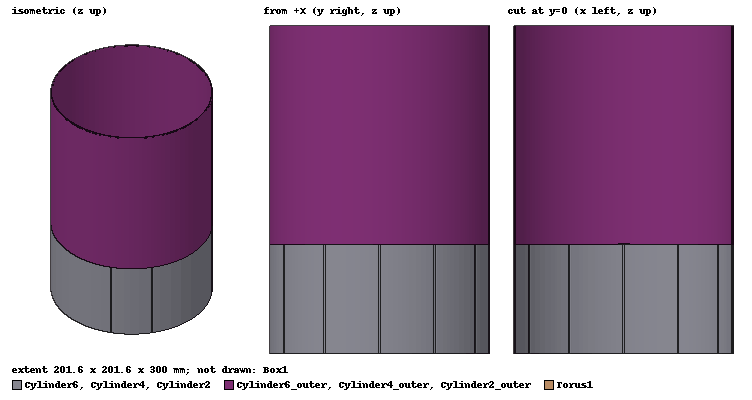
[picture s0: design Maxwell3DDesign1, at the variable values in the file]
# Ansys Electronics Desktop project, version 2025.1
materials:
  vacuum: permittivity=1
  ferrite: permittivity=12 permeability=1000 conductivity=0.01
  copper: permeability=0.999991 conductivity=58000000

design Maxwell3DDesign1 (Maxwell 3D, Magnetostatic, model units mm)
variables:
  Rin = 100mm
  H = 200mm
  Iexc = 1mA
  a = 0.2mm
  g = 0.1mm
  T = 0.8mm
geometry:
  Cylinder1 = cylinder(axis=Z, base_centre=(0mm, 0mm, -H/2), radius=Rin, height=H)
  Cylinder2 [ferrite] = cylinder(axis=Z, base_centre=(0mm, 0mm, -H/2), radius=Rin+a, height=H)
  Cylinder2.subtract(Cylinder1)
  Cylinder3 = cylinder(axis=Z, base_centre=(0mm, 0mm, -H/2), radius=Rin+a+g, height=H)
  Cylinder4 [ferrite] = cylinder(axis=Z, base_centre=(0mm, 0mm, -H/2), radius=Rin+2*a+g, height=H)
  Cylinder4.subtract(Cylinder3)
  Torus1 [copper] = torus(axis=Z, centre=(0mm, 0mm, 0mm), major_radius=5mm, minor_radius=0.5mm)
  Torus1_Section1 [copper] = Torus1.section(plane=YZ)
  Torus1_Section1.separate_bodies()
  Box1 [vacuum] = box(corner=(-400mm, -400mm, -400mm), size=(800mm, 800mm, 800mm))
  Cylinder5 = cylinder(axis=Z, base_centre=(0mm, 0mm, -H/2), radius=Rin+2*a+2*g, height=H)
  Cylinder6 [ferrite] = cylinder(axis=Z, base_centre=(0mm, 0mm, -H/2), radius=Rin+3*a+2*g, height=H)
  Cylinder6.subtract(Cylinder5)
  point BcenterPoint_0_0_0 = (0, 0, 0)
  point BcenterPoint_0_0_0_1 = (0, 0, 0)
  point BcenterPoint_0_0_0_2 = (0, 0, 0)
  point BcenterPoint_0_0_0_3 = (0, 0, 0)
  Cylinder2_outer [ferrite] = cylinder(axis=Z, base_centre=(0mm, 0mm, 0mm), radius=100.2mm, height=200mm)
  Cylinder2_inner = cylinder(axis=Z, base_centre=(0mm, 0mm, 0mm), radius=100mm, height=200mm)
  Cylinder2_outer.subtract(Cylinder2_inner)
  gap_L1_s1 = box(corner=(98mm, -0.8mm, -101mm), size=(4.2mm, 1.6mm, 202mm))
  gap_L1_s1.rotate(axis=Z, angle=0deg)
  gap_L1_s2 = box(corner=(98mm, -0.8mm, -101mm), size=(4.2mm, 1.6mm, 202mm))
  gap_L1_s2.rotate(axis=Z, angle=30deg)
  gap_L1_s3 = box(corner=(98mm, -0.8mm, -101mm), size=(4.2mm, 1.6mm, 202mm))
  gap_L1_s3.rotate(axis=Z, angle=60deg)
  gap_L1_s4 = box(corner=(98mm, -0.8mm, -101mm), size=(4.2mm, 1.6mm, 202mm))
  gap_L1_s4.rotate(axis=Z, angle=90deg)
  gap_L1_s5 = box(corner=(98mm, -0.8mm, -101mm), size=(4.2mm, 1.6mm, 202mm))
  gap_L1_s5.rotate(axis=Z, angle=120deg)
  gap_L1_s6 = box(corner=(98mm, -0.8mm, -101mm), size=(4.2mm, 1.6mm, 202mm))
  gap_L1_s6.rotate(axis=Z, angle=150deg)
  gap_L1_s7 = box(corner=(98mm, -0.8mm, -101mm), size=(4.2mm, 1.6mm, 202mm))
  gap_L1_s7.rotate(axis=Z, angle=180deg)
  gap_L1_s8 = box(corner=(98mm, -0.8mm, -101mm), size=(4.2mm, 1.6mm, 202mm))
  gap_L1_s8.rotate(axis=Z, angle=210deg)
  gap_L1_s9 = box(corner=(98mm, -0.8mm, -101mm), size=(4.2mm, 1.6mm, 202mm))
  gap_L1_s9.rotate(axis=Z, angle=240deg)
  gap_L1_s10 = box(corner=(98mm, -0.8mm, -101mm), size=(4.2mm, 1.6mm, 202mm))
  gap_L1_s10.rotate(axis=Z, angle=270deg)
  gap_L1_s11 = box(corner=(98mm, -0.8mm, -101mm), size=(4.2mm, 1.6mm, 202mm))
  gap_L1_s11.rotate(axis=Z, angle=300deg)
  gap_L1_s12 = box(corner=(98mm, -0.8mm, -101mm), size=(4.2mm, 1.6mm, 202mm))
  gap_L1_s12.rotate(axis=Z, angle=330deg)
  Cylinder2.subtract(gap_L1_s1..gap_L1_s12)
  Cylinder4_outer [ferrite] = cylinder(axis=Z, base_centre=(0mm, 0mm, 0mm), radius=100.5mm, height=200mm)
  Cylinder4_inner = cylinder(axis=Z, base_centre=(0mm, 0mm, 0mm), radius=100.3mm, height=200mm)
  Cylinder4_outer.subtract(Cylinder4_inner)
  gap_L2_s1 = box(corner=(98.3mm, -0.8mm, -101mm), size=(4.2mm, 1.6mm, 202mm))
  gap_L2_s1.rotate(axis=Z, angle=15deg)
  gap_L2_s2 = box(corner=(98.3mm, -0.8mm, -101mm), size=(4.2mm, 1.6mm, 202mm))
  gap_L2_s2.rotate(axis=Z, angle=45deg)
  gap_L2_s3 = box(corner=(98.3mm, -0.8mm, -101mm), size=(4.2mm, 1.6mm, 202mm))
  gap_L2_s3.rotate(axis=Z, angle=75deg)
  gap_L2_s4 = box(corner=(98.3mm, -0.8mm, -101mm), size=(4.2mm, 1.6mm, 202mm))
  gap_L2_s4.rotate(axis=Z, angle=105deg)
  gap_L2_s5 = box(corner=(98.3mm, -0.8mm, -101mm), size=(4.2mm, 1.6mm, 202mm))
  gap_L2_s5.rotate(axis=Z, angle=135deg)
  gap_L2_s6 = box(corner=(98.3mm, -0.8mm, -101mm), size=(4.2mm, 1.6mm, 202mm))
  gap_L2_s6.rotate(axis=Z, angle=165deg)
  gap_L2_s7 = box(corner=(98.3mm, -0.8mm, -101mm), size=(4.2mm, 1.6mm, 202mm))
  gap_L2_s7.rotate(axis=Z, angle=195deg)
  gap_L2_s8 = box(corner=(98.3mm, -0.8mm, -101mm), size=(4.2mm, 1.6mm, 202mm))
  gap_L2_s8.rotate(axis=Z, angle=225deg)
  gap_L2_s9 = box(corner=(98.3mm, -0.8mm, -101mm), size=(4.2mm, 1.6mm, 202mm))
  gap_L2_s9.rotate(axis=Z, angle=255deg)
  gap_L2_s10 = box(corner=(98.3mm, -0.8mm, -101mm), size=(4.2mm, 1.6mm, 202mm))
  gap_L2_s10.rotate(axis=Z, angle=285deg)
  gap_L2_s11 = box(corner=(98.3mm, -0.8mm, -101mm), size=(4.2mm, 1.6mm, 202mm))
  gap_L2_s11.rotate(axis=Z, angle=315deg)
  gap_L2_s12 = box(corner=(98.3mm, -0.8mm, -101mm), size=(4.2mm, 1.6mm, 202mm))
  gap_L2_s12.rotate(axis=Z, angle=345deg)
  Cylinder4.subtract(gap_L2_s1..gap_L2_s12)
  Cylinder6_outer [ferrite] = cylinder(axis=Z, base_centre=(0mm, 0mm, 0mm), radius=100.8mm, height=200mm)
  Cylinder6_inner = cylinder(axis=Z, base_centre=(0mm, 0mm, 0mm), radius=100.6mm, height=200mm)
  Cylinder6_outer.subtract(Cylinder6_inner)
  gap_L3_s1 = box(corner=(98.6mm, -0.8mm, -101mm), size=(4.2mm, 1.6mm, 202mm))
  gap_L3_s1.rotate(axis=Z, angle=0deg)
  gap_L3_s2 = box(corner=(98.6mm, -0.8mm, -101mm), size=(4.2mm, 1.6mm, 202mm))
  gap_L3_s2.rotate(axis=Z, angle=30deg)
  gap_L3_s3 = box(corner=(98.6mm, -0.8mm, -101mm), size=(4.2mm, 1.6mm, 202mm))
  gap_L3_s3.rotate(axis=Z, angle=60deg)
  gap_L3_s4 = box(corner=(98.6mm, -0.8mm, -101mm), size=(4.2mm, 1.6mm, 202mm))
  gap_L3_s4.rotate(axis=Z, angle=90deg)
  gap_L3_s5 = box(corner=(98.6mm, -0.8mm, -101mm), size=(4.2mm, 1.6mm, 202mm))
  gap_L3_s5.rotate(axis=Z, angle=120deg)
  gap_L3_s6 = box(corner=(98.6mm, -0.8mm, -101mm), size=(4.2mm, 1.6mm, 202mm))
  gap_L3_s6.rotate(axis=Z, angle=150deg)
  gap_L3_s7 = box(corner=(98.6mm, -0.8mm, -101mm), size=(4.2mm, 1.6mm, 202mm))
  gap_L3_s7.rotate(axis=Z, angle=180deg)
  gap_L3_s8 = box(corner=(98.6mm, -0.8mm, -101mm), size=(4.2mm, 1.6mm, 202mm))
  gap_L3_s8.rotate(axis=Z, angle=210deg)
  gap_L3_s9 = box(corner=(98.6mm, -0.8mm, -101mm), size=(4.2mm, 1.6mm, 202mm))
  gap_L3_s9.rotate(axis=Z, angle=240deg)
  gap_L3_s10 = box(corner=(98.6mm, -0.8mm, -101mm), size=(4.2mm, 1.6mm, 202mm))
  gap_L3_s10.rotate(axis=Z, angle=270deg)
  gap_L3_s11 = box(corner=(98.6mm, -0.8mm, -101mm), size=(4.2mm, 1.6mm, 202mm))
  gap_L3_s11.rotate(axis=Z, angle=300deg)
  gap_L3_s12 = box(corner=(98.6mm, -0.8mm, -101mm), size=(4.2mm, 1.6mm, 202mm))
  gap_L3_s12.rotate(axis=Z, angle=330deg)
  Cylinder6.subtract(gap_L3_s1..gap_L3_s12)
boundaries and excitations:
  B0x_TH_101: Tangential H Field Faces=Box1.face(-y) ComponentXReal=1 ComponentYReal=0 CoordSysVector{(0, -400, 0) -> (10mm, -400mm, 0mm)}
  B0x_TH_103: Tangential H Field Faces=Box1.face(+y) ComponentXReal=1 ComponentYReal=0 CoordSysVector{(0, 400, 0) -> (10mm, 400mm, 0mm)}
  B0x_TH_99: Tangential H Field Faces=Box1.face(+z) ComponentXReal=1 ComponentYReal=0 CoordSysVector{(0, 0, 400) -> (10mm, 0mm, 400mm)}
  B0x_TH_100: Tangential H Field Faces=Box1.face(-z) ComponentXReal=1 ComponentYReal=0 CoordSysVector{(0, 0, -400) -> (10mm, 0mm, -400mm)}
  B0x_open_flux_faces: Zero Tangential H Field Faces=Box1.face(-x, +x)
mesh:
  Length_surf_Cylinder2: LengthBased Objects=Cylinder2 NumMaxElem=2000 MaxLength=0.066666667mm
  Length_vol_Cylinder2: LengthBased RefineInside Objects=Cylinder2 NumMaxElem=2000 MaxLength=0.066666667mm
  Length_surf_Cylinder4: LengthBased Objects=Cylinder4 NumMaxElem=2000 MaxLength=0.066666667mm
  Length_vol_Cylinder4: LengthBased RefineInside Objects=Cylinder4 NumMaxElem=2000 MaxLength=0.066666667mm
  Length_surf_Cylinder6: LengthBased Objects=Cylinder6 NumMaxElem=2000 MaxLength=0.066666667mm
  Length_vol_Cylinder6: LengthBased RefineInside Objects=Cylinder6 NumMaxElem=2000 MaxLength=0.066666667mm
  initial mesh: GlobalCurvilinear{Apply}
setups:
  Setup1: Magnetostatic MaximumPasses=100 MinimumPasses=2 MinimumConvergedPasses=1 PercentRefinement=30 PercentError=1 NonLinearResidual=0.001
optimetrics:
  P_Tcompare1: Parametric Sim._Setups=[Setup1]
    sweep T: 5mm
    table edits: add(8mm) add(10mm)
    calculate IntH2_total on Setup1 : LastAdaptive
    calculate IntH2_s1 on Setup1 : LastAdaptive
    calculate IntH2_s2 on Setup1 : LastAdaptive
    calculate IntH2_s3 on Setup1 : LastAdaptive
  P_asweep1: Parametric Sim._Setups=[Setup1]
    sweep a: 0.5mm
    table edits: add(0.8mm) add(1.0mm) add(1.2mm) add(1.5mm) add(2.0mm)
    calculate IntH2_s1 on Setup1 : LastAdaptive
    calculate IntH2_s2 on Setup1 : LastAdaptive
    calculate IntH2_s3 on Setup1 : LastAdaptive
    calculate IntH2_total on Setup1 : LastAdaptive
  P_agmatrix_3ceng_T1: Parametric Sim._Setups=[Setup1]
    sweep a: 0.5mm
    sweep g: 0.2mm
    sweep T: 1.90mm
    table edits: add(0.5mm, 0.5mm, 2.50mm) add(0.5mm, 1.0mm, 3.50mm) add(0.5mm, 1.5mm, 4.50mm) add(1.0mm, 0.2mm, 3.40mm) add(1.0mm, 0.5mm, 4.00mm) add(1.0mm, 1.0mm, 5.00mm) add(1.0mm, 1.5mm, 6.00mm) add(1.5mm, 0.2mm, 4.90mm) add(1.5mm, 0.5mm, 5.50mm) add(1.5mm, 1.0mm, 6.50mm) add(1.5mm, 1.5mm, 7.50mm) add(2.0mm, 0.2mm, 6.40mm) add(2.0mm, 0.5mm, 7.00mm) add(2.0mm, 1.0mm, 8.00mm) add(2.0mm, 1.5mm, 9.00mm)
    calculate IntH2_total on Setup1 : LastAdaptive
    calculate IntH2_s1 on Setup1 : LastAdaptive
    calculate IntH2_s2 on Setup1 : LastAdaptive
    calculate IntH2_s3 on Setup1 : LastAdaptive
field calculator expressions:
  IntH2_cyl2 = Mag_H | Mag_H | * | EnterVolume(Cylinder2) | VolumeValue | Integrate
  IntH2_cyl4 = Mag_H | Mag_H | * | EnterVolume(Cylinder4) | VolumeValue | Integrate
  IntH2_legacy2 = IntH2_cyl2 | IntH2_cyl4 | +
  IntH2_s1 = Mag_H | Mag_H | * | EnterVolume(Cylinder2) | VolumeValue | Integrate
  IntH2_s2 = Mag_H | Mag_H | * | EnterVolume(Cylinder4) | VolumeValue | Integrate
  IntH2_s3 = Mag_H | Mag_H | * | EnterVolume(Cylinder6) | VolumeValue | Integrate
  IntH2_total = IntH2_s1 | IntH2_s2 | + | IntH2_s3 | +
